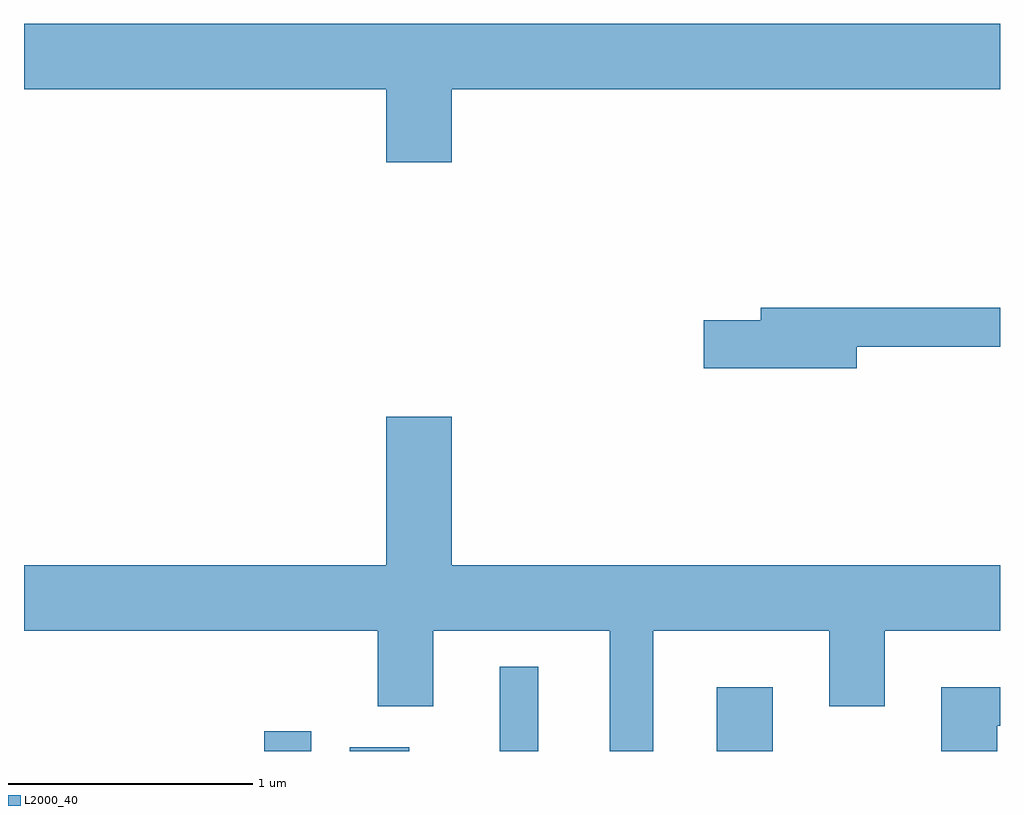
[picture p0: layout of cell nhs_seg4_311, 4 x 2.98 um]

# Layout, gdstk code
import gdstk
lib = gdstk.Library(unit=1e-6, precision=1e-09)
def R(c, l, rs):  # rectangles x0, y0, x1, y1
    for r in rs: c.add(gdstk.rectangle(r[:2], r[2:], *l))
def P(c, l, *ps):  # polygons
    for p in ps: c.add(gdstk.Polygon(p, *l))
L2000_40 = (2000, 40)

nhs_seg4_311 = lib.new_cell('nhs_seg4_311')
R(nhs_seg4_311, L2000_40, [(194.596,1331.982,194.789,1332.064), (194.946,1331.982,195.189,1331.999), (195.561,1331.982,195.719,1332.328), (196.451,1331.982,196.679,1332.244)])
P(nhs_seg4_311, L2000_40, [(195.364,1334.696),(197.611,1334.696),(197.611,1334.964),(193.611,1334.964),(193.611,1334.696),(195.096,1334.696),(195.096,1334.396),(195.364,1334.396)],
  [(197.024,1333.641),(197.611,1333.641),(197.611,1333.799),(196.631,1333.799),(196.631,1333.749),(196.396,1333.749),(196.396,1333.551),(197.024,1333.551)],
  [(196.189,1332.476),(196.911,1332.476),(196.911,1332.166),(197.139,1332.166),(197.139,1332.476),(197.611,1332.476),(197.611,1332.744),(195.364,1332.744),(195.364,1333.354),(195.096,1333.354),(195.096,1332.744),(193.611,1332.744),(193.611,1332.476),(195.061,1332.476),(195.061,1332.166),(195.289,1332.166),(195.289,1332.476),(196.011,1332.476),(196.011,1331.982),(196.189,1331.982)],
  [(197.599,1332.086),(197.611,1332.086),(197.611,1332.244),(197.371,1332.244),(197.371,1331.982),(197.599,1331.982)])

lib.write_gds('nhs_seg4_311.gds')
